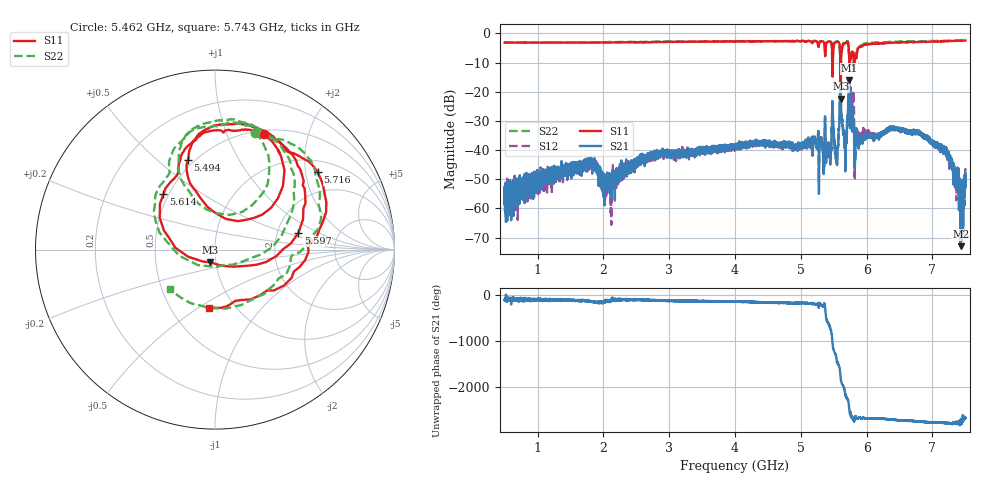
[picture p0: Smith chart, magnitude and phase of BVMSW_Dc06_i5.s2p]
!Keysight Technologies,M9374A,MY55442783,A.12.55.05
!Date: Friday, May 21, 2021 10:01:32
!Correction: S11(Full 2 Port(1,2))
!S21(Full 2 Port(1,2))
!S12(Full 2 Port(1,2))
!S22(Full 2 Port(1,2))
!S2P File: Measurements: S11, S21, S12, S22:
# Hz S  RI  R 50
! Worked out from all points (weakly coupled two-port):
!   7001 points, 500 MHz to 7.5 GHz, reference 50 ohm
!   highest |S21| = -16.08 dB at 5.73 GHz (marker M1); lowest = -72.9 dB at 7.429 GHz (marker M2)
!   lowest |S11| = -22.4 dB at 5.606 GHz (marker M3), VSWR 1.16, Z = 46.8 - j6.62 ohm
!   |S11| at or under -10 dB: 5.478258 GHz to 5.486116 GHz (7.859 MHz wide, 0.143 % of centre); 5.60052 GHz to 5.611248 GHz (10.73 MHz wide, 0.191 % of centre); 5.803812 GHz to 5.815702 GHz (11.89 MHz wide, 0.205 % of centre) (the widest 3 of 4)
!   |S22| runs from -20.3 to -2.5 dB; largest |S21 - S12| = 0.13
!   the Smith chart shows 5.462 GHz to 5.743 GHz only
!   S11 on the Smith chart (normalised r, x): 5.462 GHz: 0.54, +1.36; 5.494 GHz: 0.46, +0.63; 5.597 GHz: 2.63, +0.64; 5.614 GHz: 0.47, +0.35; 5.716 GHz: 1.32, +2.34; 5.743 GHz: 0.76, -0.55
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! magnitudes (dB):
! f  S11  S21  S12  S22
! 500 MHz  -3.2  -54.7  -54.3  -3.0
! 1.667 GHz  -3.2  -46.8  -46.4  -3.1
! 2.116 GHz  -3.1  -54.4  -53.1  -3.0
! 2.834 GHz  -3.0  -40.4  -41.0  -2.9
! 4 GHz  -2.8  -38.6  -39.2  -2.7
! 5.167 GHz  -3.1  -36.5  -36.6  -3.1
! 5.414 GHz  -2.9  -38.5  -38.7  -2.8
! 5.462 GHz  -3.1  -38.9  -39.0  -3.2
! 5.494 GHz  -5.7  -33.4  -33.0  -4.5
! 5.543 GHz  -2.9  -42.7  -42.6  -2.8
! 5.597 GHz  -6.5  -19.9  -19.9  -9.8
! 5.606 GHz  -22.4  -19.0  -19.7  -11.2
! 5.614 GHz  -7.5  -27.7  -27.6  -6.5
! 5.668 GHz  -3.5  -36.7  -37.6  -3.2
! 5.716 GHz  -2.9  -27.8  -28.3  -3.2
! 5.73 GHz  -5.9  -16.1  -15.5  -7.4
! 5.743 GHz  -9.8  -22.2  -17.2  -9.5
! 5.844 GHz  -8.4  -35.6  -37.8  -7.3
! 6.334 GHz  -3.3  -33.3  -33.1  -2.9
! 7.17 GHz  -2.7  -41.4  -40.2  -2.6
! 7.429 GHz  -2.5  -72.9  -65.9  -2.5
! 7.5 GHz  -2.5  -49.4  -52.4  -2.5
